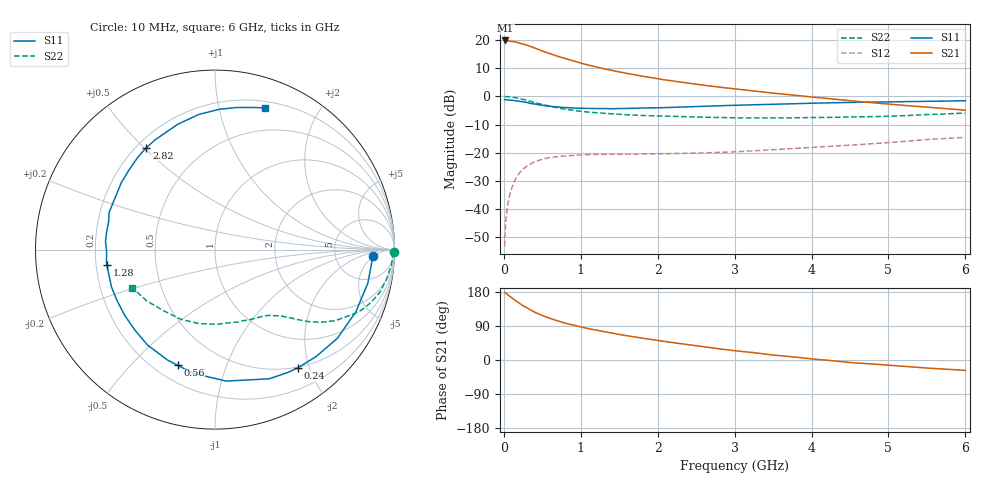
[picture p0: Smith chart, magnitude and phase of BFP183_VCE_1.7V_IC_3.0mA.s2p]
! Infineon Technologies  Discrete & RF Semiconductors
! BFP183
! VCE = 1.7 V,  IC =  3.0 mA
! Common Emitter S-Parameters:  Jan 2016
# GHz  S  MA  R  50
!  f  S11  S21  S12  S22
! GHz  MAG  ANG  MAG  ANG  MAG  ANG  MAG  ANG
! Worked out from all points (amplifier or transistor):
!   210 points, 10 MHz to 6 GHz, reference 50 ohm
!   highest |S21| = 19.8 dB at 20 MHz (marker M1)
!   |S21| within 3 dB of that: start of sweep to 432.8 MHz
!   unconditionally stable (mu >= 1): 1.85 GHz to 5.908 GHz
!   at 185 MHz: K = 0.12, MSG = 23.5 dB, |S12| = -27.9 dB
!   at 1.52 GHz: K = 0.85, MSG = 14.6 dB, |S12| = -20.5 dB
!   at 6 GHz: K = 0.98, MSG = 4.8 dB, |S12| = -14.5 dB
!   S11 on the Smith chart (normalised r, x): 10 MHz: 14, -4; 240 MHz: 0.49, -1.82; 560 MHz: 0.29, -0.69; 1.28 GHz: 0.24, -0.07; 2.82 GHz: 0.24, +0.51; 6 GHz: 0.26, +1.38
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0.01  0.8798 -2.3  9.694 178.7  0.0022 86.5  0.9959 -0.9
0.02  0.8756 -5.2  9.828 177.4  0.0049 88.3  0.9906 -2.0
0.05  0.8719 -12.4  9.784 172.1  0.0119 85.3  0.9869 -4.9
0.065  0.8642 -15.8  9.66 169.9  0.0152 81.1  0.9812 -6.3
0.15  0.8421 -36.0  9.282 156.8  0.0337 70.2  0.949 -14.5
0.2  0.8198 -46.8  8.911 149.7  0.0433 65.3  0.9193 -18.5
0.24  0.8039 -55.1  8.533 144.5  0.0497 60.6  0.8926 -21.4
0.3  0.7803 -67.3  8.119 137.4  0.058 55.0  0.8476 -25.2
0.4  0.7351 -85.2  7.265 126.1  0.0691 47.1  0.7781 -30.6
0.5  0.6996 -100.2  6.382 117.2  0.0768 40.7  0.7164 -34.4
0.56  0.6774 -107.9  5.993 112.9  0.08 37.6  0.6868 -36.0
0.7  0.6512 -125.2  5.136 103.1  0.0857 31.9  0.6259 -39.1
0.8  0.6327 -135.0  4.684 97.1  0.0881 28.7  0.5917 -40.9
1.02  0.614 -154.0  3.818 86.3  0.0916 23.8  0.5394 -43.8
1.28  0.6085 -171.8  3.129 75.7  0.0938 20.2  0.5031 -47.1
1.6  0.6117 170.4  2.561 64.1  0.0947 18.5  0.4723 -51.0
2.02  0.6281 151.5  2.03 51.0  0.0959 18.2  0.4488 -57.3
2.82  0.6844 123.9  1.449 29.0  0.1017 20.8  0.4225 -72.7
3.1  0.7003 116.2  1.314 22.5  0.1057 22.2  0.4152 -79.1
4.1  0.7619 95.0  0.948 1.2  0.1264 24.2  0.422 -105.1
5.1  0.8031 80.4  0.71 -15.1  0.1548 23.7  0.4491 -132.7
6  0.8381 70.4  0.569 -27.6  0.1879 17.7  0.5072 -155.3
